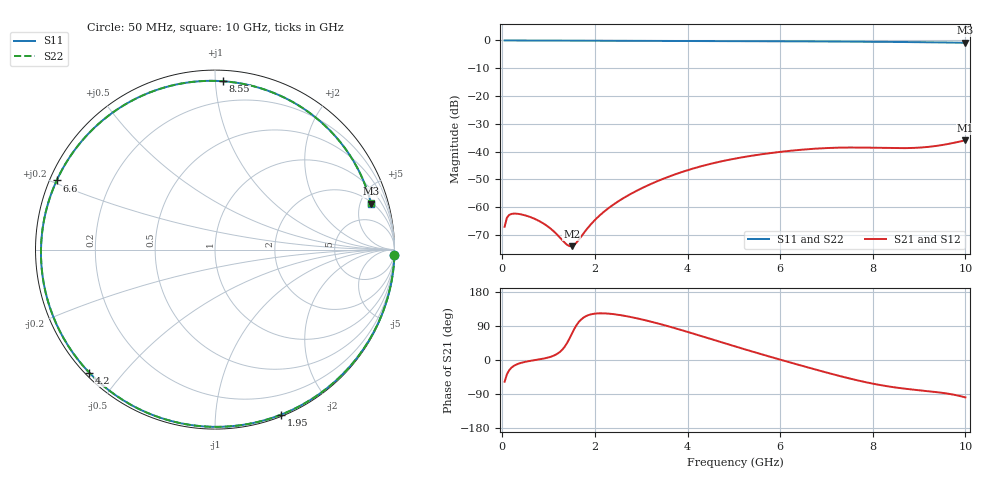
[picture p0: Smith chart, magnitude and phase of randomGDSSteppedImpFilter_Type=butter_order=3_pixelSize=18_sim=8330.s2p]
! freq	dB(S11)	phase(S11)	dB(S12)	phase(S12)
!  dB(S21)	phase(S21)	dB(S22)	phase(S22)
!S-par simulation data
#  GHz  S  DB  R 50
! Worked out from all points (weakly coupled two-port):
!   200 points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, 50 MHz to 10 GHz, reference 50 ohm
!   highest |S21| = -35.98 dB at 10 GHz (marker M1); lowest = -74.1 dB at 1.5 GHz (marker M2)
!   lowest |S11| = -0.8 dB at 10 GHz (marker M3), VSWR 20.53, Z = 107 + j311 ohm
!   |S11| at or under -10 dB: nowhere
!   |S22| runs from -0.8 to 0.0 dB; largest |S21 - S12| = 0
!   S11 on the Smith chart (normalised r, x): 50 MHz: 0, -63; 1.95 GHz: 0.02, -1.48; 4.2 GHz: 0.01, -0.41; 6.6 GHz: 0.02, +0.21; 8.55 GHz: 0.07, +1.05; 10 GHz: 2.15, +6.21
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0.05  -0.00 -1.8  -67.12 -57.3  -67.12 -57.3  -0.00 -1.8
0.1  -0.00 -3.7  -63.82 -37.6  -63.82 -37.6  -0.00 -3.6
0.15  -0.00 -5.5  -62.84 -26.6  -62.84 -26.6  -0.00 -5.5
0.5  -0.02 -18.2  -63.03 -4.7  -63.03 -4.7  -0.02 -18.2
0.9  -0.04 -32.4  -66.05 3.9  -66.05 3.9  -0.04 -32.4
1.4  -0.06 -49.8  -73.62 45.1  -73.62 45.1  -0.06 -49.8
1.5  -0.07 -53.2  -74.10 68.9  -74.10 68.9  -0.07 -53.2
1.75  -0.08 -61.6  -69.57 111.6  -69.57 111.6  -0.08 -61.6
1.95  -0.08 -68.2  -65.54 121.4  -65.54 121.4  -0.08 -68.1
2.55  -0.11 -87.3  -57.47 118.4  -57.47 118.4  -0.11 -87.3
3.4  -0.14 -112.8  -50.33 95.2  -50.33 95.2  -0.14 -112.8
4.2  -0.17 -135.6  -45.75 66.8  -45.75 66.8  -0.17 -135.6
5.05  -0.22 -159.2  -42.48 35.0  -42.48 35.0  -0.22 -159.1
5.85  -0.27 178.4  -40.44 6.2  -40.44 6.2  -0.27 178.5
6.6  -0.33 156.4  -39.17 -19.7  -39.17 -19.7  -0.33 156.4
6.7  -0.34 153.3  -39.05 -23.1  -39.05 -23.1  -0.34 153.4
7.5  -0.42 127.3  -38.56 -48.8  -38.56 -48.8  -0.42 127.3
8.35  -0.52 95.5  -38.77 -70.0  -38.77 -70.0  -0.52 95.6
8.55  -0.55 87.2  -38.80 -73.5  -38.80 -73.5  -0.55 87.3
9.25  -0.66 55.5  -38.25 -83.0  -38.25 -83.0  -0.66 55.7
9.65  -0.75 35.3  -37.21 -89.4  -37.21 -89.4  -0.75 35.5
10  -0.85 16.4  -35.98 -98.7  -35.98 -98.7  -0.85 16.7
